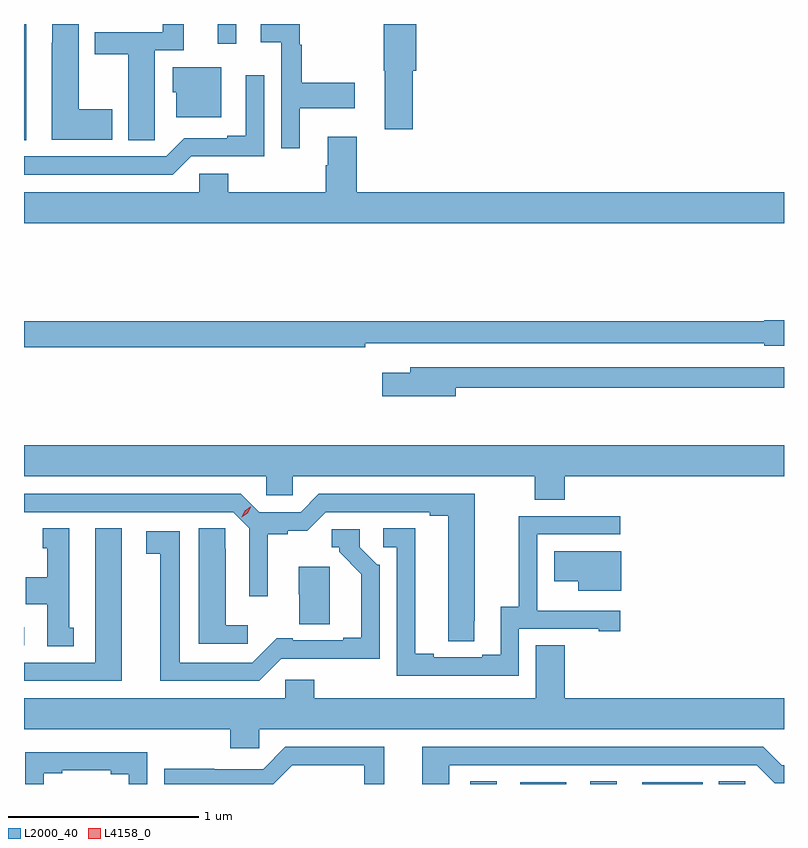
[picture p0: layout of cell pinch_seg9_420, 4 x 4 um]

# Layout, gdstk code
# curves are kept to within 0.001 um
import gdstk
lib = gdstk.Library(unit=1e-6, precision=1e-09)
def R(c, l, rs):  # rectangles x0, y0, x1, y1
    for r in rs: c.add(gdstk.rectangle(r[:2], r[2:], *l))
def P(c, l, *ps):  # polygons
    for p in ps: c.add(gdstk.Polygon(p, *l))
L2000_40 = (2000, 40)
L4158_0 = (4158, 0)

pinch_seg9_420 = lib.new_cell('pinch_seg9_420')
R(pinch_seg9_420, L2000_40, [(204.206,1209.453,204.346,1209.467), (204.468,1209.453,204.712,1209.462), (204.836,1209.453,204.976,1209.467), (205.112,1209.453,205.429,1209.463), (205.514,1209.453,205.653,1209.467), (201.857,1210.182,201.859,1210.278), (201.857,1212.841,201.868,1213.453), (202.877,1213.35,202.974,1213.453), (203.48,1213.452,203.578,1213.453)])
P(pinch_seg9_420, L2000_40, [(203.308,1213.01),(203.599,1213.01),(203.599,1213.145),(203.32,1213.145),(203.32,1213.344),(203.308,1213.344),(203.308,1213.453),(203.102,1213.453),(203.102,1213.358),(203.211,1213.358),(203.211,1212.798),(203.308,1212.798)],
  [(202.545,1212.952),(202.546,1212.952),(202.546,1213.314),(202.697,1213.314),(202.697,1213.453),(202.588,1213.453),(202.588,1213.41),(202.229,1213.41),(202.229,1213.294),(202.406,1213.294),(202.406,1212.841),(202.545,1212.841)],
  [(202.321,1213.005),(202.144,1213.005),(202.144,1213.453),(202.005,1213.453),(202.005,1213.355),(202.004,1213.355),(202.004,1212.845),(202.321,1212.845)],
  [(203.903,1213.206),(203.921,1213.206),(203.921,1213.453),(203.75,1213.453),(203.75,1213.206),(203.756,1213.206),(203.756,1212.9),(203.903,1212.9)],
  [(202.894,1213.225),(202.64,1213.225),(202.64,1213.095),(202.658,1213.095),(202.658,1212.962),(202.894,1212.962)],
  [(202.737,1212.756),(203.121,1212.756),(203.121,1213.183),(203.024,1213.183),(203.024,1212.865),(202.928,1212.865),(202.928,1212.852),(202.701,1212.852),(202.605,1212.756),(201.857,1212.756),(201.857,1212.66),(202.641,1212.66)],
  [(205.857,1212.568),(203.609,1212.568),(203.609,1212.859),(203.456,1212.859),(203.456,1212.71),(203.444,1212.71),(203.444,1212.568),(202.931,1212.568),(202.931,1212.666),(202.779,1212.666),(202.779,1212.568),(201.857,1212.568),(201.857,1212.404),(205.857,1212.404)],
  [(203.654,1211.772),(205.752,1211.772),(205.752,1211.759),(205.857,1211.759),(205.857,1211.894),(205.752,1211.894),(205.752,1211.888),(201.857,1211.888),(201.857,1211.752),(203.654,1211.752)],
  [(204.13,1211.538),(205.857,1211.538),(205.857,1211.646),(203.891,1211.646),(203.891,1211.617),(203.742,1211.617),(203.742,1211.495),(204.13,1211.495)],
  [(204.704,1211.072),(205.857,1211.072),(205.857,1211.236),(201.857,1211.236),(201.857,1211.072),(203.133,1211.072),(203.133,1210.974),(203.271,1210.974),(203.271,1211.072),(204.544,1211.072),(204.544,1210.948),(204.704,1210.948)],
  [(204.228,1210.312),(204.229,1210.98),(203.409,1210.98),(203.313,1210.884),(203.095,1210.884),(202.999,1210.98),(201.857,1210.98),(201.857,1210.884),(202.959,1210.884),(203.043,1210.8),(203.043,1210.44),(203.14,1210.44),(203.14,1210.768),(203.244,1210.768),(203.244,1210.787),(203.348,1210.787),(203.445,1210.884),(203.993,1210.884),(203.993,1210.864),(204.089,1210.864),(204.089,1210.204),(204.228,1210.204)],
  [(204.462,1210.269),(204.881,1210.269),(204.881,1210.257),(204.994,1210.257),(204.994,1210.365),(204.56,1210.365),(204.56,1210.366),(204.558,1210.366),(204.558,1210.767),(204.994,1210.767),(204.994,1210.863),(204.46,1210.863),(204.46,1210.385),(204.365,1210.385),(204.365,1210.134),(204.269,1210.134),(204.269,1210.119),(204.013,1210.119),(204.013,1210.139),(203.917,1210.139),(203.917,1210.799),(203.748,1210.799),(203.748,1210.698),(203.82,1210.698),(203.82,1210.023),(204.462,1210.023)],
  [(203.035,1210.288),(202.918,1210.288),(202.918,1210.691),(202.917,1210.691),(202.917,1210.799),(202.778,1210.799),(202.778,1210.191),(203.035,1210.191)],
  [(202.12,1210.275),(202.096,1210.275),(202.096,1210.798),(201.956,1210.798),(201.956,1210.695),(201.98,1210.695),(201.98,1210.54),(201.866,1210.54),(201.866,1210.4),(201.98,1210.4),(201.98,1210.177),(202.12,1210.177)],
  [(202.372,1210.798),(202.232,1210.798),(202.232,1210.092),(201.857,1210.092),(201.857,1209.996),(202.372,1209.996)],
  [(203.211,1210.113),(203.73,1210.112),(203.73,1210.608),(203.715,1210.608),(203.625,1210.698),(203.625,1210.794),(203.478,1210.794),(203.478,1210.698),(203.517,1210.698),(203.517,1210.675),(203.633,1210.558),(203.633,1210.222),(203.537,1210.222),(203.537,1210.209),(203.272,1210.209),(203.272,1210.22),(203.186,1210.22),(203.058,1210.092),(202.678,1210.092),(202.678,1210.782),(202.5,1210.782),(202.5,1210.666),(202.574,1210.666),(202.574,1209.996),(203.094,1209.996)],
  [(205,1210.678),(204.648,1210.678),(204.648,1210.52),(204.773,1210.52),(204.773,1210.469),(205,1210.469)],
  [(203.467,1210.597),(203.303,1210.597),(203.303,1210.452),(203.305,1210.452),(203.305,1210.294),(203.467,1210.294)],
  [(203.094,1209.74),(205.857,1209.74),(205.857,1209.904),(204.704,1209.904),(204.704,1210.184),(204.551,1210.184),(204.551,1209.904),(203.384,1209.904),(203.384,1210.002),(203.232,1210.002),(203.232,1209.904),(201.857,1209.904),(201.857,1209.74),(202.943,1209.74),(202.943,1209.642),(203.094,1209.642)],
  [(204.094,1209.552),(205.713,1209.552),(205.809,1209.456),(205.857,1209.456),(205.857,1209.552),(205.845,1209.552),(205.749,1209.648),(203.954,1209.648),(203.954,1209.453),(204.094,1209.453)],
  [(203.268,1209.552),(203.648,1209.552),(203.648,1209.453),(203.752,1209.453),(203.752,1209.648),(203.232,1209.648),(203.115,1209.531),(202.859,1209.531),(202.859,1209.533),(202.596,1209.533),(202.596,1209.453),(203.169,1209.453)],
  [(201.961,1209.51),(202.057,1209.51),(202.057,1209.525),(202.313,1209.525),(202.313,1209.505),(202.409,1209.505),(202.409,1209.453),(202.506,1209.453),(202.506,1209.621),(201.864,1209.621),(201.864,1209.453),(201.961,1209.453)])
P(pinch_seg9_420, L4158_0, [(203.003,1210.857),(203.003,1210.857),(203.019,1210.891),(203.049,1210.912),(203.05,1210.912),(203.05,1210.912),(203.034,1210.878),(203.003,1210.857)])

lib.write_gds('pinch_seg9_420.gds')
